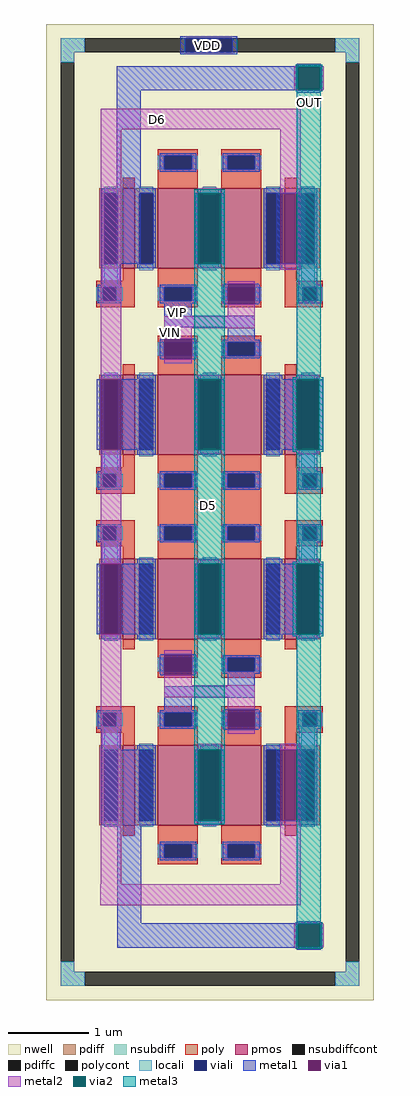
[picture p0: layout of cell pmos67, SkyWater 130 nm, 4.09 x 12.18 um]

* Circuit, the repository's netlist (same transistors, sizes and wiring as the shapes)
** sch_path: /home/panjiahmaddhani/mbkm/opamp/mag/pmos67.sch
.subckt pmos67 VDD D5 VIN VIP D6 OUT
*.PININFO VIN:I VIP:I OUT:O VDD:B D5:B D6:B
XM6 D6 VIN D5 VDD sky130_fd_pr__pfet_01v8 L=0.5 W=1 nf=1 m=4
XM7 OUT VIP D5 VDD sky130_fd_pr__pfet_01v8 L=0.5 W=1 nf=1 m=4
XM1 D6 D6 D6 VDD sky130_fd_pr__pfet_01v8 L=0.15 W=1 nf=1 m=4
XM2 OUT OUT OUT VDD sky130_fd_pr__pfet_01v8 L=0.15 W=1 nf=1 m=4
.ends
.end

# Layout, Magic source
magic
tech sky130A
magscale 1 2
<< nwell >>
rect -197 -1743 621 693
<< nsubdiff >>
rect -161 623 -101 657
rect 525 623 585 657
rect -161 597 -127 623
rect 551 597 585 623
rect -161 -1673 -127 -1647
rect 551 -1673 585 -1647
rect -161 -1707 -101 -1673
rect 525 -1707 585 -1673
<< nsubdiffcont >>
rect -101 623 525 657
rect -161 -1647 -127 597
rect 551 -1647 585 597
rect -101 -1707 525 -1673
<< poly >>
rect -6 52 24 57
rect -72 36 24 52
rect -72 2 -56 36
rect -22 2 24 36
rect -72 -14 24 2
rect 398 52 428 57
rect 398 36 494 52
rect 398 2 444 36
rect 478 2 494 36
rect 398 -14 494 2
rect -6 -413 24 -408
rect -72 -429 24 -413
rect -72 -463 -56 -429
rect -22 -463 24 -429
rect -72 -479 24 -463
rect 398 -413 428 -408
rect 398 -429 494 -413
rect 398 -463 444 -429
rect 478 -463 494 -429
rect -72 -561 24 -545
rect 82 -546 182 -478
rect 240 -546 340 -478
rect 398 -479 494 -463
rect -72 -595 -56 -561
rect -22 -595 24 -561
rect -72 -611 24 -595
rect -6 -616 24 -611
rect 398 -561 494 -545
rect 398 -595 444 -561
rect 478 -595 494 -561
rect 398 -611 494 -595
rect 398 -616 428 -611
rect -72 -1026 24 -1010
rect -72 -1060 -56 -1026
rect -22 -1060 24 -1026
rect -72 -1076 24 -1060
rect -6 -1081 24 -1076
rect 398 -1026 494 -1010
rect 398 -1060 444 -1026
rect 478 -1060 494 -1026
rect 398 -1076 494 -1060
rect 398 -1081 428 -1076
<< polycont >>
rect -56 2 -22 36
rect 444 2 478 36
rect -56 -463 -22 -429
rect 444 -463 478 -429
rect -56 -595 -22 -561
rect 444 -595 478 -561
rect -56 -1060 -22 -1026
rect 444 -1060 478 -1026
<< locali >>
rect -161 623 -101 657
rect 525 623 585 657
rect -161 597 -127 623
rect 551 597 585 623
rect -52 36 -18 83
rect 440 36 474 83
rect -72 2 -56 36
rect -22 2 -6 36
rect 428 2 444 36
rect 478 2 494 36
rect -52 -429 -18 -382
rect 440 -429 474 -382
rect -72 -463 -56 -429
rect -22 -463 -6 -429
rect 428 -463 444 -429
rect 478 -463 494 -429
rect -72 -595 -56 -561
rect -22 -595 -6 -561
rect 428 -595 444 -561
rect 478 -595 494 -561
rect -52 -642 -18 -595
rect 440 -642 474 -595
rect -72 -1060 -56 -1026
rect -22 -1060 -6 -1026
rect 428 -1060 444 -1026
rect 478 -1060 494 -1026
rect -52 -1107 -18 -1060
rect 440 -1107 474 -1060
rect -161 -1673 -127 -1647
rect 551 -1673 585 -1647
rect -161 -1707 -101 -1673
rect 525 -1707 585 -1673
<< viali >>
rect 150 623 268 657
rect -56 2 -22 36
rect 444 2 478 36
rect -56 -463 -22 -429
rect 444 -463 478 -429
rect -56 -595 -22 -561
rect 444 -595 478 -561
rect -56 -1060 -22 -1026
rect 444 -1060 478 -1026
<< metal1 >>
rect 138 657 280 663
rect 138 623 150 657
rect 268 623 280 657
rect 138 617 280 623
rect 429 588 489 594
rect -21 528 429 588
rect -21 95 39 528
rect 429 522 489 528
rect 175 95 185 271
rect 237 95 247 271
rect 377 95 387 271
rect 439 95 449 271
rect -58 42 -12 95
rect -68 36 -10 42
rect -68 2 -56 36
rect -22 2 -10 36
rect -68 -4 -10 2
rect 98 -35 166 2
rect 246 -7 256 45
rect 324 -7 334 45
rect 434 42 480 95
rect 432 36 490 42
rect 432 2 444 36
rect 478 2 490 36
rect 432 -4 490 2
rect 98 -64 324 -35
rect 88 -144 98 -92
rect 166 -144 176 -92
rect 256 -101 324 -64
rect -71 -370 -61 -194
rect -9 -370 70 -194
rect 175 -370 185 -194
rect 237 -370 247 -194
rect 352 -370 430 -194
rect 484 -370 494 -194
rect -58 -423 -12 -370
rect 434 -423 480 -370
rect -68 -429 -10 -423
rect -68 -463 -56 -429
rect -22 -463 -10 -429
rect -68 -469 -10 -463
rect 432 -429 490 -423
rect 432 -463 444 -429
rect 478 -463 490 -429
rect 432 -469 490 -463
rect -68 -561 -10 -555
rect -68 -595 -56 -561
rect -22 -595 -10 -561
rect -68 -601 -10 -595
rect 432 -561 490 -555
rect 432 -595 444 -561
rect 478 -595 490 -561
rect 432 -601 490 -595
rect -58 -654 -12 -601
rect 434 -654 480 -601
rect -71 -830 -61 -654
rect -9 -830 70 -654
rect 175 -830 185 -654
rect 237 -830 247 -654
rect 352 -830 430 -654
rect 484 -830 494 -654
rect 88 -932 98 -880
rect 166 -932 176 -880
rect 256 -960 324 -923
rect 98 -989 324 -960
rect -68 -1026 -10 -1020
rect 98 -1026 166 -989
rect -68 -1060 -56 -1026
rect -22 -1060 -10 -1026
rect -68 -1066 -10 -1060
rect -58 -1110 -12 -1066
rect 246 -1069 256 -1017
rect 324 -1069 334 -1017
rect 432 -1026 490 -1020
rect 432 -1060 444 -1026
rect 478 -1060 490 -1026
rect 432 -1066 490 -1060
rect 434 -1111 480 -1066
rect -52 -1295 70 -1119
rect 175 -1295 185 -1119
rect 237 -1295 247 -1119
rect 377 -1295 387 -1119
rect 439 -1295 449 -1119
rect -20 -1552 40 -1295
rect 429 -1552 489 -1546
rect -20 -1612 429 -1552
rect 429 -1618 489 -1612
<< via1 >>
rect 429 528 489 588
rect 185 95 237 271
rect 387 95 439 271
rect 256 -7 324 45
rect 98 -144 166 -92
rect -61 -370 -9 -194
rect 185 -370 237 -194
rect 430 -370 484 -194
rect -61 -830 -9 -654
rect 185 -830 237 -654
rect 430 -830 484 -654
rect 98 -932 166 -880
rect 256 -1069 324 -1017
rect 185 -1295 237 -1119
rect 387 -1295 439 -1119
rect 429 -1612 489 -1552
<< metal2 >>
rect 423 586 429 588
rect 489 586 495 588
rect 422 530 429 586
rect 489 530 496 586
rect 423 528 429 530
rect 489 528 495 530
rect -61 430 439 482
rect -61 -194 -9 430
rect 183 271 239 283
rect 183 86 239 95
rect 387 271 439 430
rect 185 85 237 86
rect 387 80 439 95
rect 256 45 324 51
rect 256 -37 324 -7
rect 98 -67 324 -37
rect 98 -92 166 -67
rect 98 -154 166 -144
rect -61 -654 -9 -370
rect 183 -194 239 -184
rect 183 -380 239 -370
rect 429 -194 485 -184
rect 429 -380 485 -370
rect -61 -1454 -9 -830
rect 183 -654 239 -644
rect 183 -840 239 -830
rect 429 -654 485 -644
rect 429 -840 485 -830
rect 98 -880 166 -870
rect 98 -957 166 -932
rect 98 -987 324 -957
rect 256 -1017 324 -987
rect 256 -1079 324 -1069
rect 183 -1119 239 -1104
rect 183 -1304 239 -1295
rect 387 -1119 439 -1104
rect 185 -1305 237 -1304
rect 387 -1454 439 -1295
rect -62 -1506 439 -1454
rect 423 -1554 429 -1552
rect 489 -1554 495 -1552
rect 422 -1610 429 -1554
rect 489 -1610 496 -1554
rect 423 -1612 429 -1610
rect 489 -1612 495 -1610
<< via2 >>
rect 431 530 487 586
rect 183 95 185 271
rect 185 95 237 271
rect 237 95 239 271
rect 183 -370 185 -194
rect 185 -370 237 -194
rect 237 -370 239 -194
rect 429 -370 430 -194
rect 430 -370 484 -194
rect 484 -370 485 -194
rect 183 -830 185 -654
rect 185 -830 237 -654
rect 237 -830 239 -654
rect 429 -830 430 -654
rect 430 -830 484 -654
rect 484 -830 485 -654
rect 183 -1295 185 -1119
rect 185 -1295 237 -1119
rect 237 -1295 239 -1119
rect 431 -1610 487 -1554
<< metal3 >>
rect 426 586 492 591
rect 426 530 431 586
rect 487 530 492 586
rect 426 525 492 530
rect 173 271 249 280
rect 173 95 183 271
rect 239 95 249 271
rect 173 -194 249 95
rect 429 -189 489 525
rect 173 -370 183 -194
rect 239 -370 249 -194
rect 173 -654 249 -370
rect 419 -194 495 -189
rect 419 -370 429 -194
rect 485 -370 495 -194
rect 419 -375 495 -370
rect 429 -649 489 -375
rect 173 -830 183 -654
rect 239 -830 249 -654
rect 173 -1119 249 -830
rect 419 -654 495 -649
rect 419 -830 429 -654
rect 485 -830 495 -654
rect 419 -835 495 -830
rect 173 -1295 183 -1119
rect 239 -1295 249 -1119
rect 173 -1304 249 -1295
rect 429 -1549 489 -835
rect 426 -1554 492 -1549
rect 426 -1610 431 -1554
rect 487 -1610 492 -1554
rect 426 -1615 492 -1610
use sky130_fd_pr__pfet_01v8_2XUZHN  sky130_fd_pr__pfet_01v8_2XUZHN_0
transform 1 0 9 0 1 183
box -109 -162 109 162
use sky130_fd_pr__pfet_01v8_2XUZHN  sky130_fd_pr__pfet_01v8_2XUZHN_1
transform 1 0 413 0 1 183
box -109 -162 109 162
use sky130_fd_pr__pfet_01v8_2XUZHN  sky130_fd_pr__pfet_01v8_2XUZHN_2
transform 1 0 9 0 1 -1207
box -109 -162 109 162
use sky130_fd_pr__pfet_01v8_2XUZHN  sky130_fd_pr__pfet_01v8_2XUZHN_3
transform 1 0 9 0 1 -282
box -109 -162 109 162
use sky130_fd_pr__pfet_01v8_2XUZHN  sky130_fd_pr__pfet_01v8_2XUZHN_4
transform 1 0 413 0 1 -282
box -109 -162 109 162
use sky130_fd_pr__pfet_01v8_2XUZHN  sky130_fd_pr__pfet_01v8_2XUZHN_5
transform 1 0 413 0 1 -742
box -109 -162 109 162
use sky130_fd_pr__pfet_01v8_2XUZHN  sky130_fd_pr__pfet_01v8_2XUZHN_6
transform 1 0 413 0 1 -1207
box -109 -162 109 162
use sky130_fd_pr__pfet_01v8_2XUZHN  sky130_fd_pr__pfet_01v8_2XUZHN_7
transform 1 0 9 0 1 -742
box -109 -162 109 162
use sky130_fd_pr__pfet_01v8_BHVYY6  sky130_fd_pr__pfet_01v8_BHVYY6_0
transform 1 0 211 0 1 -1207
box -223 -200 223 200
use sky130_fd_pr__pfet_01v8_BHVYY6  sky130_fd_pr__pfet_01v8_BHVYY6_1
transform 1 0 211 0 1 183
box -223 -200 223 200
use sky130_fd_pr__pfet_01v8_BHVYY6  sky130_fd_pr__pfet_01v8_BHVYY6_2
transform 1 0 211 0 1 -282
box -223 -200 223 200
use sky130_fd_pr__pfet_01v8_BHVYY6  sky130_fd_pr__pfet_01v8_BHVYY6_3
transform 1 0 211 0 1 -742
box -223 -200 223 200
<< labels >>
flabel viali 206 640 206 640 0 FreeSans 1600 0 0 0 VDD
port 0 nsew
flabel metal3 461 497 461 497 0 FreeSans 1600 0 0 0 OUT
port 1 nsew
flabel metal2 80 454 80 454 0 FreeSans 1600 0 0 0 D6
port 2 nsew
flabel metal1 130 -27 130 -27 0 FreeSans 1600 0 0 0 VIP
port 3 nsew
flabel metal2 114 -76 114 -76 0 FreeSans 1600 0 0 0 VIN
port 4 nsew
flabel metal3 208 -508 208 -508 0 FreeSans 1600 0 0 0 D5
port 5 nsew
<< end >>

# cell sky130_fd_pr__pfet_01v8_2XUZHN: kit device sky130_fd_pr__pfet_01v8, w 1 l 0.15 m 1 nf 1 diffcov 100 polycov 100 guard 0 glc 1 grc 1 gtc 1 gbc 1 tbcov 100 rlcov 100 topc 0 botc 0 poverlap 0 doverlap 1 lmin 0.15 wmin 0.42 compatible {sky130_fd_pr__pfet_01v8 sky130_fd_pr__pfet_01v8_lvt sky130_fd_pr__pfet_01v8_hvt sky130_fd_pr__pfet_g5v0d10v5} full_metal 1 viasrc 100 viadrn 100 viagate 100 viagb 0 viagr 0 viagl 0 viagt 0

# cell sky130_fd_pr__pfet_01v8_BHVYY6: kit device sky130_fd_pr__pfet_01v8, w 1 l 0.5 m 1 nf 2 diffcov 100 polycov 100 guard 0 glc 1 grc 1 gtc 1 gbc 1 tbcov 100 rlcov 100 topc 1 botc 1 poverlap 0 doverlap 1 lmin 0.15 wmin 0.42 compatible {sky130_fd_pr__pfet_01v8 sky130_fd_pr__pfet_01v8_lvt sky130_fd_pr__pfet_01v8_hvt sky130_fd_pr__pfet_g5v0d10v5} full_metal 1 viasrc 100 viadrn 100 viagate 100 viagb 0 viagr 0 viagl 0 viagt 0
